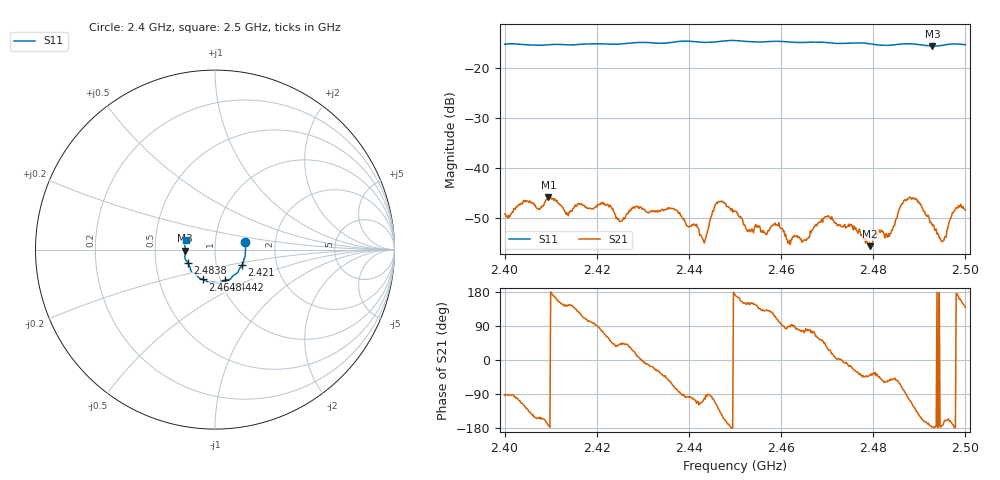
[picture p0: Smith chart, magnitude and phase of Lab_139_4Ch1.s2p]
# Hz S RI R 50
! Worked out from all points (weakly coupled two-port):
!   601 points, 2.4 GHz to 2.5 GHz, reference 50 ohm
!   highest |S21| = -45.78 dB at 2.4095 GHz (marker M1); lowest = -55.6 dB at 2.4793 GHz (marker M2)
!   lowest |S11| = -15.6 dB at 2.4928 GHz (marker M3), VSWR 1.40, Z = 35.8 - j0.378 ohm
!   |S11| at or under -10 dB: start of sweep to end of sweep
!   S12 and S22 are empty: the file has one direction only
!   S11 on the Smith chart (normalised r, x): 2.4 GHz: 1.40, +0.12; 2.421 GHz: 1.33, -0.24; 2.4442 GHz: 1.05, -0.37; 2.4648 GHz: 0.83, -0.28; 2.4838 GHz: 0.73, -0.11; 2.5 GHz: 0.72, +0.08
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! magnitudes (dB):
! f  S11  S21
! 2.4 GHz  -15.2  -49.1
! 2.4095 GHz  -15.3  -45.8
! 2.4167 GHz  -15.2  -47.1
! 2.421 GHz  -15.2  -46.9
! 2.425 GHz  -15.2  -50.7
! 2.4333 GHz  -15.1  -48.6
! 2.4432 GHz  -14.9  -54.6
! 2.4442 GHz  -14.9  -52.2
! 2.4463 GHz  -14.7  -46.7
! 2.45 GHz  -14.5  -48.6
! 2.4528 GHz  -14.7  -52.7
! 2.4648 GHz  -14.9  -54.6
! 2.4667 GHz  -14.8  -52.5
! 2.4705 GHz  -15.0  -49.8
! 2.4793 GHz  -15.2  -55.6
! 2.4833 GHz  -15.5  -53.1
! 2.4838 GHz  -15.4  -53.0
! 2.4882 GHz  -15.2  -45.9
! 2.4928 GHz  -15.6  -51.5
! 2.4953 GHz  -15.4  -54.4
! 2.4977 GHz  -15.2  -48.4
! 2.5 GHz  -15.3  -48.4
